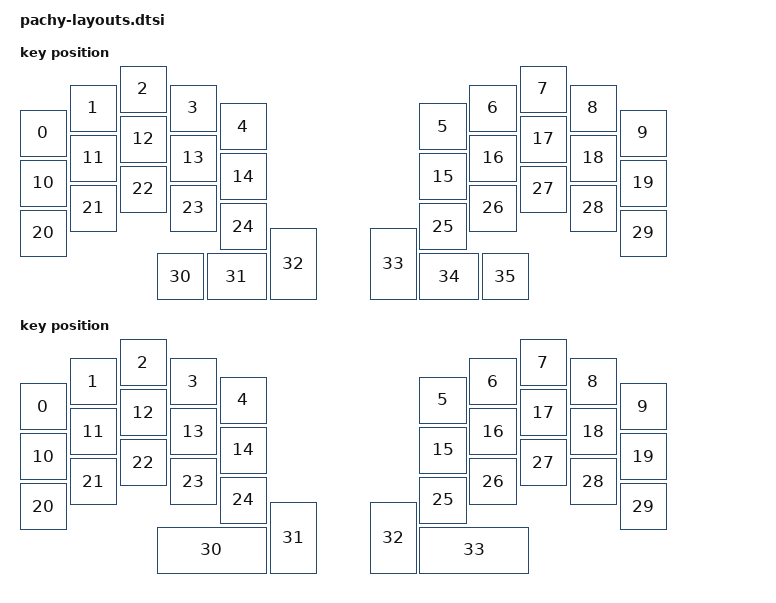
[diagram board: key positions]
#include <physical_layouts.dtsi>

/ {
    physical_layout0: physical_layout_0 {
        compatible = "zmk,physical-layout";
        display-name = "pachy36";

        kscan = <&kscan0>;
        transform = <&matrix_transform0>;

        keys  //                     w   h    x    y     rot    rx    ry
            = <&key_physical_attrs 100 100    0   88       0     0     0>
            , <&key_physical_attrs 100 100  100   38       0     0     0>
            , <&key_physical_attrs 100 100  200    0       0     0     0>
            , <&key_physical_attrs 100 100  300   38       0     0     0>
            , <&key_physical_attrs 100 100  400   75       0     0     0>
            , <&key_physical_attrs 100 100  800   75       0     0     0>
            , <&key_physical_attrs 100 100  900   38       0     0     0>
            , <&key_physical_attrs 100 100 1000    0       0     0     0>
            , <&key_physical_attrs 100 100 1100   38       0     0     0>
            , <&key_physical_attrs 100 100 1200   88       0     0     0>
            , <&key_physical_attrs 100 100    0  188       0     0     0>
            , <&key_physical_attrs 100 100  100  138       0     0     0>
            , <&key_physical_attrs 100 100  200  100       0     0     0>
            , <&key_physical_attrs 100 100  300  138       0     0     0>
            , <&key_physical_attrs 100 100  400  175       0     0     0>
            , <&key_physical_attrs 100 100  800  175       0     0     0>
            , <&key_physical_attrs 100 100  900  138       0     0     0>
            , <&key_physical_attrs 100 100 1000  100       0     0     0>
            , <&key_physical_attrs 100 100 1100  138       0     0     0>
            , <&key_physical_attrs 100 100 1200  188       0     0     0>
            , <&key_physical_attrs 100 100    0  288       0     0     0>
            , <&key_physical_attrs 100 100  100  238       0     0     0>
            , <&key_physical_attrs 100 100  200  200       0     0     0>
            , <&key_physical_attrs 100 100  300  238       0     0     0>
            , <&key_physical_attrs 100 100  400  275       0     0     0>
            , <&key_physical_attrs 100 100  800  275       0     0     0>
            , <&key_physical_attrs 100 100  900  238       0     0     0>
            , <&key_physical_attrs 100 100 1000  200       0     0     0>
            , <&key_physical_attrs 100 100 1100  238       0     0     0>
            , <&key_physical_attrs 100 100 1200  288       0     0     0>
            , <&key_physical_attrs 100 100  275  375       0     0     0>
            , <&key_physical_attrs 125 100  375  375       0     0     0>
            , <&key_physical_attrs 100 150  500  325       0     0     0>
            , <&key_physical_attrs 100 150  700  325       0     0     0>
            , <&key_physical_attrs 125 100  800  375       0     0     0>
            , <&key_physical_attrs 100 100  925  375       0     0     0>
            ;
    };

    physical_layout1: physical_layout_1 {
        compatible = "zmk,physical-layout";
        display-name = "pachy34";

        kscan = <&kscan0>;
        transform = <&matrix_transform1>;

        keys  //                     w   h    x    y     rot    rx    ry
            = <&key_physical_attrs 100 100    0   88       0     0     0>
            , <&key_physical_attrs 100 100  100   38       0     0     0>
            , <&key_physical_attrs 100 100  200    0       0     0     0>
            , <&key_physical_attrs 100 100  300   38       0     0     0>
            , <&key_physical_attrs 100 100  400   75       0     0     0>
            , <&key_physical_attrs 100 100  800   75       0     0     0>
            , <&key_physical_attrs 100 100  900   38       0     0     0>
            , <&key_physical_attrs 100 100 1000    0       0     0     0>
            , <&key_physical_attrs 100 100 1100   38       0     0     0>
            , <&key_physical_attrs 100 100 1200   88       0     0     0>
            , <&key_physical_attrs 100 100    0  188       0     0     0>
            , <&key_physical_attrs 100 100  100  138       0     0     0>
            , <&key_physical_attrs 100 100  200  100       0     0     0>
            , <&key_physical_attrs 100 100  300  138       0     0     0>
            , <&key_physical_attrs 100 100  400  175       0     0     0>
            , <&key_physical_attrs 100 100  800  175       0     0     0>
            , <&key_physical_attrs 100 100  900  138       0     0     0>
            , <&key_physical_attrs 100 100 1000  100       0     0     0>
            , <&key_physical_attrs 100 100 1100  138       0     0     0>
            , <&key_physical_attrs 100 100 1200  188       0     0     0>
            , <&key_physical_attrs 100 100    0  288       0     0     0>
            , <&key_physical_attrs 100 100  100  238       0     0     0>
            , <&key_physical_attrs 100 100  200  200       0     0     0>
            , <&key_physical_attrs 100 100  300  238       0     0     0>
            , <&key_physical_attrs 100 100  400  275       0     0     0>
            , <&key_physical_attrs 100 100  800  275       0     0     0>
            , <&key_physical_attrs 100 100  900  238       0     0     0>
            , <&key_physical_attrs 100 100 1000  200       0     0     0>
            , <&key_physical_attrs 100 100 1100  238       0     0     0>
            , <&key_physical_attrs 100 100 1200  288       0     0     0>
            , <&key_physical_attrs 225 100  275  375       0     0     0>
            , <&key_physical_attrs 100 150  500  325       0     0     0>
            , <&key_physical_attrs 100 150  700  325       0     0     0>
            , <&key_physical_attrs 225 100  800  375       0     0     0>
            ;
    };
};
